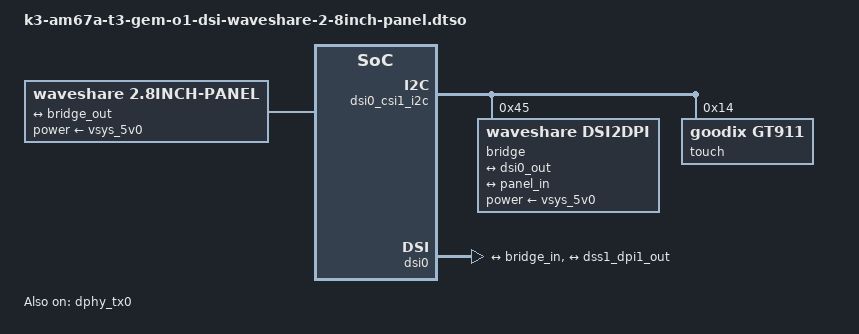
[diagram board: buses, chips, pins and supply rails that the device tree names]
// SPDX-License-Identifier: GPL-2.0-only
/*
 * T3 Gemstone O1 waveshare 2 8inch panel DSI panel overlay
 *
 * Copyright (C) 2025-2026 T3 Foundation - https://www.t3vakfi.org/
 */

/dts-v1/;
/plugin/;

&{/} {
	panel {
		compatible = "waveshare,2.8inch-panel";
		power-supply = <&vsys_5v0>;

		port {
			panel_in: endpoint {
				remote-endpoint = <&bridge_out>;
			};
		};
	};
};

&mipi_switch_oe {
	default-state = "off";
};

&mipi_switch_sel {
	default-state = "off";
};

&dphy_tx0 {
	status = "okay";
};

&dsi0_csi1_i2c {
	#address-cells = <1>;
	#size-cells = <0>;

	bridge@45 {
		compatible = "waveshare,dsi2dpi";
		reg = <0x45>;
		power-supply = <&vsys_5v0>;

		ports {
			#address-cells = <1>;
			#size-cells = <0>;

			port@0 {
				reg = <0>;

				bridge_in: endpoint {
					data-lanes = <1 2>;
					remote-endpoint = <&dsi0_out>;
				};
			};

			port@1 {
				reg = <1>;

				bridge_out: endpoint {
					remote-endpoint = <&panel_in>;
				};
			};
		};
	};

	touch: touchscreen@14 {
		reg = <0x14>;
		compatible = "goodix,gt911";

		touchscreen-inverted-y;
		touchscreen-swapped-x-y;

		touchscreen-size-x = <480>;
		touchscreen-size-y = <640>;
	};
};

&dsi0 {
	status = "okay";

	ports {
		#address-cells = <1>;
		#size-cells = <0>;

		port@0 {
			reg = <0>;

			dsi0_out: endpoint {
				remote-endpoint = <&bridge_in>;
			};
		};

		port@1 {
			reg = <1>;

			dsi0_in: endpoint {
				remote-endpoint = <&dss1_dpi1_out>;
			};
		};
	};
};

&dss1_ports {
	#address-cells = <1>;
	#size-cells = <0>;

	port@1 {
		reg = <1>;

		dss1_dpi1_out: endpoint {
			remote-endpoint = <&dsi0_in>;
		};
	};
};
